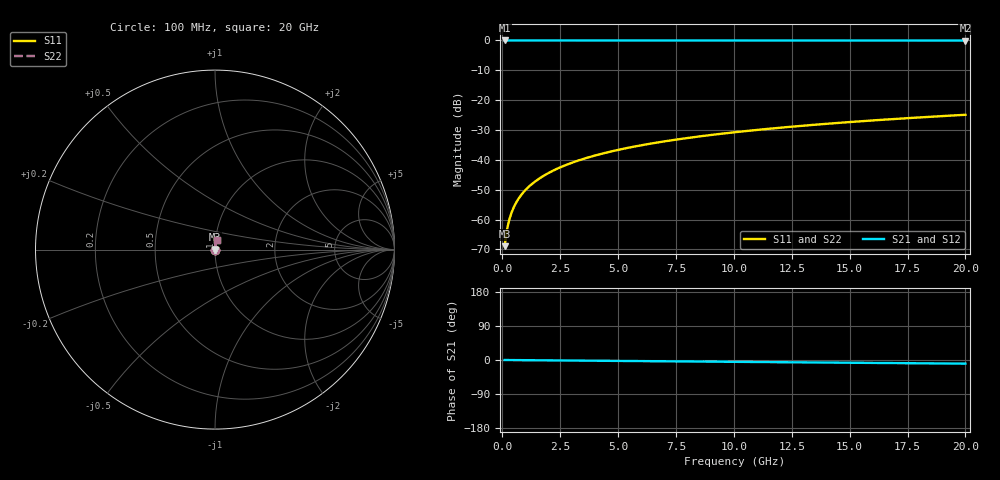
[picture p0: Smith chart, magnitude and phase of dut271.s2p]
! Touchstone file exported from HFSS 2026.1.0
!  File:  C:/ffzhzh/LocalFiles/Ansys_Project_Files/temp_train_TSV_271_1782993311_6248.aedt
!  Generated:  07:56:44 PM Jul  2, 2026
!  Design:  TSV
!  Project:  temp_train_TSV_271_1782993311_6248
! Variables:
!  h_bsmrdl = 2um
!  h_ox = 20um
!  h_rdl = 5um
!  h_sub = 86.24um
!  h_tmrdl = 5um
!  h_tsv = 86.24um
!  h_via = 3um
!  l_bsmrdl = 300um
!  l_sub = 418.8um
!  l_tmrdl = 200um
!  m_sub = 200um
!  pitch = 59.42um
!  r_tsv = 9.4um
!  s_tmrdl = 10um
!  w_bsmrdl = 18um
!  w_sub = 500um
!  w_tmrdl = 12um
!  x_tsv_center1 = 206um
!  x_tsv_center2 = 524um
!  x_tsv_center3 = 736um
!  x_tsv_center4 = 1054um
!  x_tsv_center5 = 1266um
!  x_tsv_center6 = 1584um
# GHz S MA R 50.000000
! Terminal data exported
! Port[1] = TSV1_1_T1
! Port[2] = TSV1_1_T2
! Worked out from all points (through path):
!   200 points, 100 MHz to 20 GHz, reference 50 ohm
!   highest |S21| = 0.00 dB at 100 MHz (marker M1); lowest = 0.0 dB at 20 GHz (marker M2)
!   group delay of S21, straight-line fit = 1.33 ps
!   lowest |S11| = -68.9 dB at 100 MHz (marker M3), VSWR 1.00, Z = 50 + j0.0329 ohm
!   |S11| at or under -10 dB: start of sweep to end of sweep
!   |S22| runs from -68.9 to -24.9 dB; largest |S21 - S12| = 2.1e-15
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0.1  0.0003592 66.3  0.9999 -0.1  0.9999 -0.1  0.0003592 66.3
! Gamma 0 0 0 0
! Port Impedance 50 0 50 0
0.2  0.0006737 76.6  0.9998 -0.1  0.9998 -0.1  0.0006737 76.6
0.3  0.0009933 79.9  0.9998 -0.2  0.9998 -0.2  0.0009933 79.9
0.4  0.00131 81.4  0.9998 -0.2  0.9998 -0.2  0.00131 81.4
0.5  0.001623 82.2  0.9998 -0.3  0.9998 -0.3  0.001623 82.2
0.6  0.001931 82.7  0.9998 -0.3  0.9998 -0.3  0.001931 82.7
0.7  0.002235 83.0  0.9997 -0.3  0.9997 -0.3  0.002235 83.0
0.8  0.002536 83.3  0.9997 -0.4  0.9997 -0.4  0.002536 83.3
1  0.00313 83.7  0.9997 -0.5  0.9997 -0.5  0.00313 83.7
1.4  0.0043 84.2  0.9996 -0.7  0.9996 -0.7  0.0043 84.2
1.7  0.005172 84.6  0.9996 -0.8  0.9996 -0.8  0.005172 84.6
2  0.006043 84.8  0.9995 -1.0  0.9995 -1.0  0.006043 84.8
2.7  0.008073 85.1  0.9995 -1.3  0.9995 -1.3  0.008073 85.1
3.5  0.01039 85.1  0.9994 -1.7  0.9994 -1.7  0.01039 85.1
4.2  0.01241 85.1  0.9993 -2.0  0.9993 -2.0  0.01241 85.1
5  0.01471 84.9  0.9992 -2.4  0.9992 -2.4  0.01471 84.9
6.8  0.01985 84.4  0.999 -3.3  0.999 -3.3  0.01985 84.4
8.3  0.02412 83.9  0.9988 -4.0  0.9988 -4.0  0.02412 83.9
10.1  0.02922 83.2  0.9986 -4.9  0.9986 -4.9  0.02922 83.2
13.4  0.03852 81.9  0.9981 -6.5  0.9981 -6.5  0.03852 81.9
16.7  0.04776 80.5  0.9976 -8.0  0.9976 -8.0  0.04776 80.5
20  0.05691 79.0  0.997 -9.6  0.997 -9.6  0.05691 79.0
